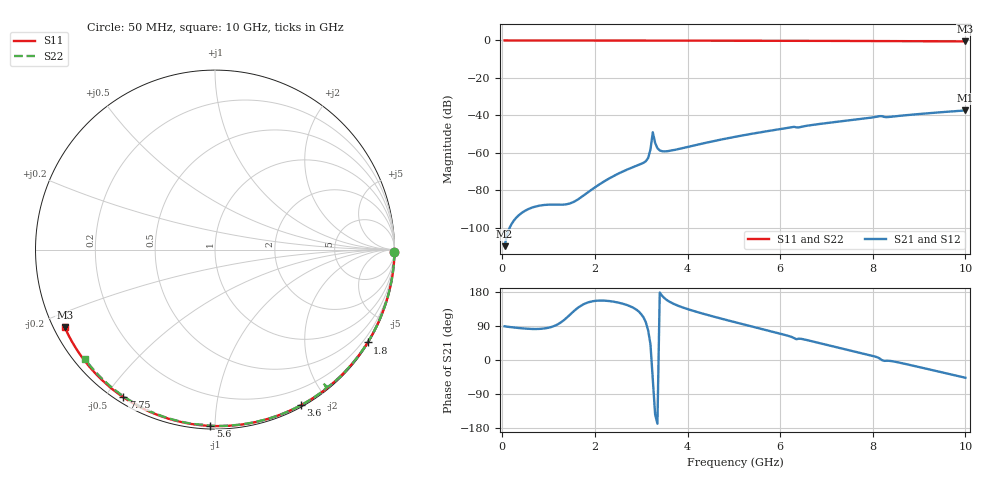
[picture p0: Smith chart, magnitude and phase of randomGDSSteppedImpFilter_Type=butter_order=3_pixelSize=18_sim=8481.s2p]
! freq	dB(S11)	phase(S11)	dB(S12)	phase(S12)
!  dB(S21)	phase(S21)	dB(S22)	phase(S22)
!S-par simulation data
#  GHz  S  DB  R 50
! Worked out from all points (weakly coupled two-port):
!   200 points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, 50 MHz to 10 GHz, reference 50 ohm
!   highest |S21| = -37.40 dB at 10 GHz (marker M1); lowest = -109.9 dB at 50 MHz (marker M2)
!   lowest |S11| = -0.5 dB at 10 GHz (marker M3), VSWR 33.71, Z = 1.57 - j12.1 ohm
!   |S11| at or under -10 dB: nowhere
!   |S22| runs from -0.5 to 0.0 dB; largest |S21 - S12| = 0
!   S11 on the Smith chart (normalised r, x): 50 MHz: open; 1.8 GHz: 0.03, -3.57; 3.6 GHz: 0.02, -1.70; 5.6 GHz: 0.02, -0.97; 7.75 GHz: 0.02, -0.56; 10 GHz: 0.03, -0.24
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0.05  -0.00 -0.9  -109.90 88.9  -109.90 88.9  -0.00 -0.8
0.9  -0.02 -15.8  -87.90 83.1  -87.90 83.1  -0.02 -14.5
1.75  -0.04 -30.5  -82.95 146.9  -82.95 146.9  -0.04 -28.0
1.8  -0.04 -31.3  -82.02 149.5  -82.02 149.5  -0.04 -28.8
1.9  -0.04 -33.0  -80.22 153.6  -80.22 153.6  -0.04 -30.3
2.4  -0.05 -41.4  -72.48 154.0  -72.48 154.0  -0.05 -38.1
3.1  -0.07 -53.0  -64.50 99.5  -64.50 99.5  -0.07 -48.9
3.15  -0.07 -53.8  -62.76 77.9  -62.76 77.9  -0.08 -49.8
3.2  -0.07 -54.6  -58.23 41.0  -58.23 41.0  -0.11 -50.9
3.25  -0.08 -55.4  -49.04 -53.0  -49.04 -53.0  -0.38 -51.0
3.3  -0.08 -56.2  -54.69 -143.4  -54.69 -143.4  -0.12 -50.9
3.35  -0.08 -57.0  -57.56 -168.2  -57.56 -168.2  -0.09 -52.0
3.4  -0.08 -57.8  -58.76 178.1  -58.76 178.1  -0.08 -52.8
3.6  -0.08 -61.0  -59.03 154.5  -59.03 154.5  -0.08 -56.0
4.3  -0.10 -72.0  -55.20 123.4  -55.20 123.4  -0.09 -66.2
5.05  -0.13 -83.4  -51.37 98.9  -51.37 98.9  -0.12 -76.7
5.6  -0.15 -91.5  -48.96 81.9  -48.96 81.9  -0.14 -84.3
6.7  -0.21 -107.3  -45.12 49.0  -45.12 49.0  -0.19 -98.8
7.75  -0.28 -121.9  -41.94 18.1  -41.94 18.1  -0.26 -112.1
8.15  -0.31 -127.4  -40.42 4.0  -40.42 4.0  -0.29 -117.2
8.35  -0.34 -130.1  -40.88 -2.1  -40.88 -2.1  -0.31 -119.6
10  -0.52 -152.7  -37.40 -46.8  -37.40 -46.8  -0.47 -139.7
